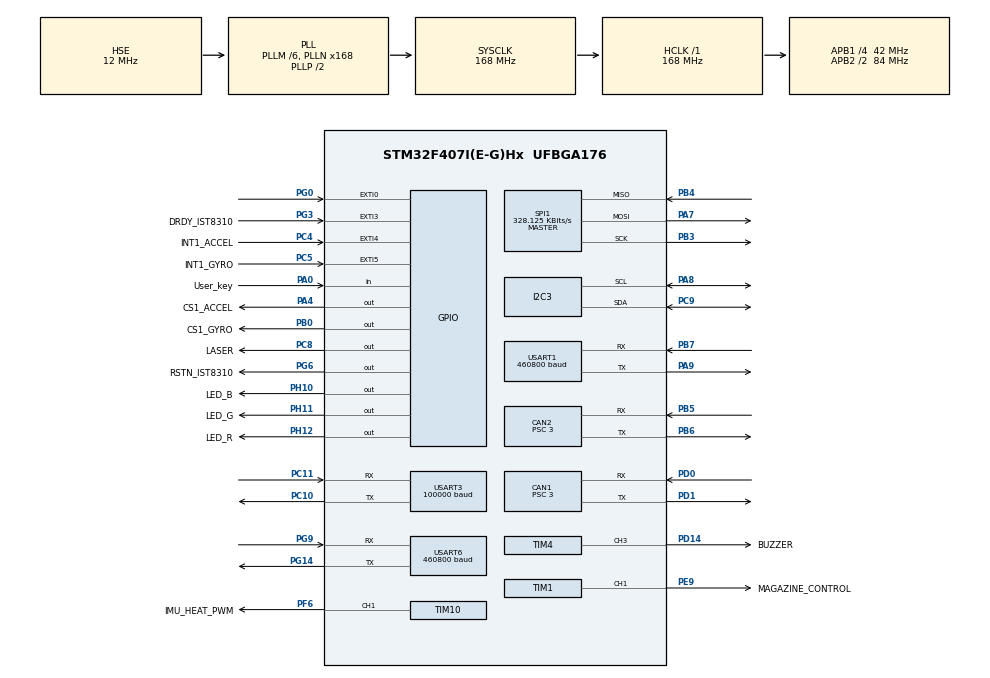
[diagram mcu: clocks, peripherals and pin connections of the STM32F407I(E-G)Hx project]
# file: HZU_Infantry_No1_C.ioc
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CAN1.BS1=CAN_BS1_10TQ
CAN1.BS2=CAN_BS2_4TQ
CAN1.CalculateBaudRate=933333
CAN1.CalculateTimeBit=1071.42
CAN1.CalculateTimeQuantum=71.42857142857143
CAN1.NART=DISABLE
CAN1.Prescaler=3
CAN1.SJW=CAN_SJW_1TQ
CAN2.BS1=CAN_BS1_10TQ
CAN2.BS2=CAN_BS2_4TQ
CAN2.CalculateBaudRate=933333
CAN2.CalculateTimeBit=1071.42
CAN2.CalculateTimeQuantum=71.42857142857143
CAN2.Prescaler=3
CAN2.SJW=CAN_SJW_1TQ
Dma.Request0=USART3_RX
Dma.Request1=USART6_RX
Dma.Request2=USART6_TX
Dma.Request3=USART1_TX
Dma.Request4=SPI1_RX
Dma.Request5=SPI1_TX
Dma.Request6=USART1_RX
Dma.SPI1_RX.4.Direction=DMA_PERIPH_TO_MEMORY
Dma.SPI1_RX.4.FIFOMode=DMA_FIFOMODE_DISABLE
Dma.SPI1_RX.4.Instance=DMA2_Stream2
Dma.SPI1_RX.4.MemDataAlignment=DMA_MDATAALIGN_BYTE
Dma.SPI1_RX.4.MemInc=DMA_MINC_ENABLE
Dma.SPI1_RX.4.Mode=DMA_NORMAL
Dma.SPI1_RX.4.PeriphDataAlignment=DMA_PDATAALIGN_BYTE
Dma.SPI1_RX.4.PeriphInc=DMA_PINC_DISABLE
Dma.SPI1_RX.4.Priority=DMA_PRIORITY_VERY_HIGH
Dma.SPI1_TX.5.Direction=DMA_MEMORY_TO_PERIPH
Dma.SPI1_TX.5.FIFOMode=DMA_FIFOMODE_DISABLE
Dma.SPI1_TX.5.Instance=DMA2_Stream3
Dma.SPI1_TX.5.MemDataAlignment=DMA_MDATAALIGN_BYTE
Dma.SPI1_TX.5.MemInc=DMA_MINC_ENABLE
Dma.SPI1_TX.5.Mode=DMA_NORMAL
Dma.SPI1_TX.5.PeriphDataAlignment=DMA_PDATAALIGN_BYTE
Dma.SPI1_TX.5.PeriphInc=DMA_PINC_DISABLE
Dma.SPI1_TX.5.Priority=DMA_PRIORITY_HIGH
Dma.USART1_RX.6.Direction=DMA_PERIPH_TO_MEMORY
Dma.USART1_RX.6.FIFOMode=DMA_FIFOMODE_DISABLE
Dma.USART1_RX.6.Instance=DMA2_Stream5
Dma.USART1_RX.6.MemDataAlignment=DMA_MDATAALIGN_BYTE
Dma.USART1_RX.6.MemInc=DMA_MINC_ENABLE
Dma.USART1_RX.6.Mode=DMA_NORMAL
Dma.USART1_RX.6.PeriphDataAlignment=DMA_PDATAALIGN_BYTE
Dma.USART1_RX.6.PeriphInc=DMA_PINC_DISABLE
Dma.USART1_RX.6.Priority=DMA_PRIORITY_HIGH
Dma.USART1_TX.3.Direction=DMA_MEMORY_TO_PERIPH
Dma.USART1_TX.3.FIFOMode=DMA_FIFOMODE_DISABLE
Dma.USART1_TX.3.Instance=DMA2_Stream7
Dma.USART1_TX.3.MemDataAlignment=DMA_MDATAALIGN_BYTE
Dma.USART1_TX.3.MemInc=DMA_MINC_ENABLE
Dma.USART1_TX.3.Mode=DMA_NORMAL
Dma.USART1_TX.3.PeriphDataAlignment=DMA_PDATAALIGN_BYTE
Dma.USART1_TX.3.PeriphInc=DMA_PINC_DISABLE
Dma.USART1_TX.3.Priority=DMA_PRIORITY_MEDIUM
Dma.USART3_RX.0.Direction=DMA_PERIPH_TO_MEMORY
Dma.USART3_RX.0.FIFOMode=DMA_FIFOMODE_DISABLE
Dma.USART3_RX.0.Instance=DMA1_Stream1
Dma.USART3_RX.0.MemDataAlignment=DMA_MDATAALIGN_BYTE
Dma.USART3_RX.0.MemInc=DMA_MINC_ENABLE
Dma.USART3_RX.0.Mode=DMA_NORMAL
Dma.USART3_RX.0.PeriphDataAlignment=DMA_PDATAALIGN_BYTE
Dma.USART3_RX.0.PeriphInc=DMA_PINC_DISABLE
Dma.USART3_RX.0.Priority=DMA_PRIORITY_HIGH
Dma.USART6_RX.1.Direction=DMA_PERIPH_TO_MEMORY
Dma.USART6_RX.1.FIFOMode=DMA_FIFOMODE_DISABLE
Dma.USART6_RX.1.Instance=DMA2_Stream1
Dma.USART6_RX.1.MemDataAlignment=DMA_MDATAALIGN_BYTE
Dma.USART6_RX.1.MemInc=DMA_MINC_ENABLE
Dma.USART6_RX.1.Mode=DMA_NORMAL
Dma.USART6_RX.1.PeriphDataAlignment=DMA_PDATAALIGN_BYTE
Dma.USART6_RX.1.PeriphInc=DMA_PINC_DISABLE
Dma.USART6_RX.1.Priority=DMA_PRIORITY_HIGH
Dma.USART6_TX.2.Direction=DMA_MEMORY_TO_PERIPH
Dma.USART6_TX.2.FIFOMode=DMA_FIFOMODE_DISABLE
Dma.USART6_TX.2.Instance=DMA2_Stream6
Dma.USART6_TX.2.MemDataAlignment=DMA_MDATAALIGN_BYTE
Dma.USART6_TX.2.MemInc=DMA_MINC_ENABLE
Dma.USART6_TX.2.Mode=DMA_NORMAL
Dma.USART6_TX.2.PeriphDataAlignment=DMA_PDATAALIGN_BYTE
Dma.USART6_TX.2.PeriphInc=DMA_PINC_DISABLE
Dma.USART6_TX.2.Priority=DMA_PRIORITY_MEDIUM
FREERTOS.INCLUDE_pcTaskGetTaskName=1
FREERTOS.INCLUDE_uxTaskGetStackHighWaterMark2=1
FREERTOS.INCLUDE_vTaskCleanUpResources=1
FREERTOS.INCLUDE_xEventGroupSetBitFromISR=1
FREERTOS.INCLUDE_xSemaphoreGetMutexHolder=1
FREERTOS.INCLUDE_xTaskAbortDelay=1
FREERTOS.INCLUDE_xTaskGetCurrentTaskHandle=1
FREERTOS.INCLUDE_xTaskGetHandle=1
FREERTOS.Tasks01=defaultTask,24,128,StartDefaultTask,Default,NULL,Dynamic,NULL,NULL
FREERTOS.configCHECK_FOR_STACK_OVERFLOW=2
FREERTOS.configENABLE_BACKWARD_COMPATIBILITY=0
FREERTOS.configENABLE_FPU=1
FREERTOS.configGENERATE_RUN_TIME_STATS=1
FREERTOS.configRECORD_STACK_HIGH_ADDRESS=1
FREERTOS.configTOTAL_HEAP_SIZE=0x6000
FREERTOS.configUSE_STATS_FORMATTING_FUNCTIONS=1
Mcu.Family=STM32F4
Mcu.Name=STM32F407I(E-G)Hx
Mcu.Package=UFBGA176
NVIC.CAN1_RX0_IRQn=true\:5\:0\:false\:false\:true\:true\:true\:true
NVIC.CAN1_TX_IRQn=true\:5\:0\:false\:false\:true\:true\:true\:true
NVIC.CAN2_RX0_IRQn=true\:5\:0\:false\:false\:true\:true\:true\:true
NVIC.CAN2_TX_IRQn=true\:5\:0\:false\:false\:true\:true\:true\:true
NVIC.DMA1_Stream1_IRQn=true\:5\:0\:true\:false\:true\:false\:false\:true
NVIC.DMA2_Stream1_IRQn=true\:5\:0\:true\:false\:true\:false\:false\:true
NVIC.DMA2_Stream2_IRQn=true\:5\:0\:false\:false\:true\:true\:false\:true
NVIC.DMA2_Stream3_IRQn=true\:5\:0\:false\:false\:true\:true\:false\:true
NVIC.DMA2_Stream5_IRQn=true\:5\:0\:false\:false\:true\:true\:false\:true
NVIC.DMA2_Stream6_IRQn=true\:5\:0\:true\:false\:true\:false\:false\:true
NVIC.DMA2_Stream7_IRQn=true\:5\:0\:true\:false\:true\:false\:false\:true
NVIC.EXTI0_IRQn=true\:6\:0\:true\:false\:true\:true\:true\:true
NVIC.EXTI3_IRQn=true\:10\:0\:true\:false\:true\:false\:true\:true
NVIC.EXTI4_IRQn=true\:5\:0\:true\:false\:true\:false\:true\:true
NVIC.EXTI9_5_IRQn=true\:5\:0\:true\:false\:true\:false\:true\:true
NVIC.PriorityGroup=NVIC_PRIORITYGROUP_4
NVIC.TIM1_UP_TIM10_IRQn=true\:5\:0\:false\:false\:true\:true\:true\:true
NVIC.TIM2_IRQn=true\:0\:0\:false\:false\:true\:false\:false\:true
NVIC.TIM3_IRQn=true\:5\:0\:false\:false\:true\:true\:true\:true
NVIC.TIM6_DAC_IRQn=true\:5\:0\:false\:false\:true\:true\:true\:true
NVIC.TIM7_IRQn=true\:5\:0\:false\:false\:true\:true\:true\:true
NVIC.TimeBase=TIM2_IRQn
NVIC.TimeBaseIP=TIM2
NVIC.USART1_IRQn=true\:5\:0\:false\:false\:true\:true\:true\:true
NVIC.USART6_IRQn=true\:5\:0\:false\:false\:true\:true\:true\:true
PA0-WKUP.GPIO_Label=User_key
PA0-WKUP.GPIO_PuPd=GPIO_PULLUP
PA0-WKUP.Signal=GPIO_Input
PA13.Mode=Serial_Wire
PA13.Signal=SYS_JTMS-SWDIO
PA14.Mode=Serial_Wire
PA14.Signal=SYS_JTCK-SWCLK
PA4.GPIO_Label=CS1_ACCEL
PA4.GPIO_PuPd=GPIO_PULLUP
PA4.GPIO_Speed=GPIO_SPEED_FREQ_HIGH
PA4.PinState=GPIO_PIN_SET
PA4.Signal=GPIO_Output
PA7.GPIO_PuPd=GPIO_PULLUP
PA7.Mode=Full_Duplex_Master
PA7.Signal=SPI1_MOSI
PA8.Mode=I2C
PA8.Signal=I2C3_SCL
PA9.GPIO_PuPd=GPIO_NOPULL
PA9.GPIO_Speed=GPIO_SPEED_FREQ_VERY_HIGH
PA9.Mode=Asynchronous
PA9.Signal=USART1_TX
PB0.GPIO_Label=CS1_GYRO
PB0.GPIO_PuPd=GPIO_PULLUP
PB0.GPIO_Speed=GPIO_SPEED_FREQ_HIGH
PB0.PinState=GPIO_PIN_SET
PB0.Signal=GPIO_Output
PB3.GPIO_PuPd=GPIO_PULLUP
PB3.Mode=Full_Duplex_Master
PB3.Signal=SPI1_SCK
PB4.GPIO_PuPd=GPIO_PULLUP
PB4.Mode=Full_Duplex_Master
PB4.Signal=SPI1_MISO
PB5.Mode=CAN_Activate
PB5.Signal=CAN2_RX
PB6.Mode=CAN_Activate
PB6.Signal=CAN2_TX
PB7.GPIO_PuPd=GPIO_NOPULL
PB7.GPIO_Speed=GPIO_SPEED_FREQ_VERY_HIGH
PB7.Mode=Asynchronous
PB7.Signal=USART1_RX
PC10.GPIO_PuPd=GPIO_PULLUP
PC10.GPIO_Speed=GPIO_SPEED_FREQ_HIGH
PC10.Mode=Asynchronous
PC10.Signal=USART3_TX
PC11.GPIO_PuPd=GPIO_PULLUP
PC11.GPIO_Speed=GPIO_SPEED_FREQ_HIGH
PC11.Mode=Asynchronous
PC11.Signal=USART3_RX
PC4.GPIO_Label=INT1_ACCEL
PC4.GPIO_ModeDefaultEXTI=GPIO_MODE_IT_FALLING
PC4.GPIO_PuPd=GPIO_PULLUP
PC4.Signal=GPXTI4
PC5.GPIO_Label=INT1_GYRO
PC5.GPIO_ModeDefaultEXTI=GPIO_MODE_IT_FALLING
PC5.GPIO_PuPd=GPIO_PULLUP
PC5.Signal=GPXTI5
PC8.GPIO_Label=LASER
PC8.GPIO_PuPd=GPIO_PULLUP
PC8.GPIO_Speed=GPIO_SPEED_FREQ_VERY_HIGH
PC8.Signal=GPIO_Output
PC9.Mode=I2C
PC9.Signal=I2C3_SDA
PD0.Mode=CAN_Activate
PD0.Signal=CAN1_RX
PD1.Mode=CAN_Activate
PD1.Signal=CAN1_TX
PD14.GPIO_Label=BUZZER
PD14.GPIO_PuPd=GPIO_PULLUP
PD14.GPIO_Speed=GPIO_SPEED_FREQ_VERY_HIGH
PD14.Signal=S_TIM4_CH3
PE9.GPIO_Label=MAGAZINE_CONTROL
PE9.GPIO_Speed=GPIO_SPEED_FREQ_HIGH
PE9.Signal=S_TIM1_CH1
PF6.GPIO_Label=IMU_HEAT_PWM
PF6.GPIO_PuPd=GPIO_PULLUP
PF6.GPIO_Speed=GPIO_SPEED_FREQ_HIGH
PF6.Signal=S_TIM10_CH1
PG0.GPIO_PuPd=GPIO_PULLUP
PG0.Signal=GPXTI0
PG14.GPIO_PuPd=GPIO_PULLUP
PG14.GPIO_Speed=GPIO_SPEED_FREQ_HIGH
PG14.Mode=Asynchronous
PG14.Signal=USART6_TX
PG3.GPIO_Label=DRDY_IST8310
PG3.GPIO_ModeDefaultEXTI=GPIO_MODE_IT_FALLING
PG3.GPIO_PuPd=GPIO_PULLUP
PG3.Signal=GPXTI3
PG6.GPIO_Label=RSTN_IST8310
PG6.GPIO_PuPd=GPIO_PULLUP
PG6.GPIO_Speed=GPIO_SPEED_FREQ_MEDIUM
PG6.PinState=GPIO_PIN_RESET
PG6.Signal=GPIO_Output
PG9.GPIO_PuPd=GPIO_PULLUP
PG9.GPIO_Speed=GPIO_SPEED_FREQ_HIGH
PG9.Mode=Asynchronous
PG9.Signal=USART6_RX
PH0-OSC_IN.Mode=HSE-External-Oscillator
PH0-OSC_IN.Signal=RCC_OSC_IN
PH1-OSC_OUT.Mode=HSE-External-Oscillator
PH1-OSC_OUT.Signal=RCC_OSC_OUT
PH10.GPIO_Label=LED_B
PH10.GPIO_PuPd=GPIO_PULLUP
PH10.GPIO_Speed=GPIO_SPEED_FREQ_VERY_HIGH
PH10.Signal=GPIO_Output
PH11.GPIO_Label=LED_G
PH11.GPIO_PuPd=GPIO_PULLUP
PH11.GPIO_Speed=GPIO_SPEED_FREQ_VERY_HIGH
PH11.Signal=GPIO_Output
PH12.GPIO_Label=LED_R
PH12.GPIO_PuPd=GPIO_PULLUP
PH12.GPIO_Speed=GPIO_SPEED_FREQ_VERY_HIGH
PH12.Signal=GPIO_Output
ProjectManager.HeapSize=0x2000
ProjectManager.StackSize=0x4000
ProjectManager.TargetToolchain=MDK-ARM V5
RCC.48MHZClocksFreq_Value=48000000
RCC.AHBFreq_Value=168000000
RCC.APB1CLKDivider=RCC_HCLK_DIV4
RCC.APB1Freq_Value=42000000
RCC.APB1TimFreq_Value=84000000
RCC.APB2CLKDivider=RCC_HCLK_DIV2
RCC.APB2Freq_Value=84000000
RCC.APB2TimFreq_Value=168000000
RCC.CortexFreq_Value=168000000
RCC.HCLKFreq_Value=168000000
RCC.HSE_VALUE=12000000
RCC.HSI_VALUE=16000000
RCC.LSE_VALUE=32768
RCC.PLLM=6
RCC.PLLN=168
RCC.PLLQ=7
RCC.PLLSourceVirtual=RCC_PLLSOURCE_HSE
RCC.RCC_RTC_Clock_Source=RCC_RTCCLKSOURCE_LSI
RCC.RCC_RTC_Clock_SourceVirtual=RCC_RTCCLKSOURCE_HSE_DIV30
RCC.RCC_RTC_Clock_Source_FROM_HSE=RCC_RTCCLKSOURCE_HSE_DIV30
RCC.SYSCLKFreq_VALUE=168000000
RCC.SYSCLKSource=RCC_SYSCLKSOURCE_PLLCLK
RCC.VCOOutputFreq_Value=336000000
SH.S_TIM10_CH1.0=TIM10_CH1,PWM Generation1 CH1
SH.S_TIM1_CH1.0=TIM1_CH1,PWM Generation1 CH1
SH.S_TIM4_CH3.0=TIM4_CH3,PWM Generation3 CH3
SPI1.BaudRatePrescaler=SPI_BAUDRATEPRESCALER_256
SPI1.CLKPhase=SPI_PHASE_2EDGE
SPI1.CLKPolarity=SPI_POLARITY_HIGH
SPI1.CalculateBaudRate=328.125 KBits/s
SPI1.Direction=SPI_DIRECTION_2LINES
SPI1.Mode=SPI_MODE_MASTER
SPI1.VirtualType=VM_MASTER
TIM1.Channel-PWM\ Generation1\ CH1=TIM_CHANNEL_1
TIM1.Period=19999
TIM1.Prescaler=83
TIM1.Pulse-PWM\ Generation1\ CH1=10000
TIM10.Channel=TIM_CHANNEL_1
TIM10.Period=4999
TIM10.Pulse=2500
TIM3.Period=49
TIM3.Prescaler=83
TIM4.Channel-PWM\ Generation3\ CH3=TIM_CHANNEL_3
TIM4.Period=250
TIM4.Prescaler=83
TIM4.Pulse-PWM\ Generation3\ CH3=125
TIM6.Period=9999
TIM6.Prescaler=83
TIM7.AutoReloadPreload=TIM_AUTORELOAD_PRELOAD_ENABLE
TIM7.Period=9999
TIM7.Prescaler=83
USART1.BaudRate=460800
USART1.VirtualMode=VM_ASYNC
USART3.BaudRate=100000
USART3.Mode=MODE_RX
USART3.Parity=PARITY_EVEN
USART3.VirtualMode=VM_ASYNC
USART6.BaudRate=460800
USART6.VirtualMode=VM_ASYNC
VP_FREERTOS_VS_CMSIS_V2.Mode=CMSIS_V2
VP_SYS_VS_tim2.Mode=TIM2
VP_TIM10_VS_ClockSourceINT.Mode=Enable_Timer
VP_TIM1_VS_ClockSourceINT.Mode=Internal
VP_TIM3_VS_ClockSourceINT.Mode=Internal
VP_TIM4_VS_ClockSourceINT.Mode=Internal
VP_TIM6_VS_ClockSourceINT.Mode=Enable_Timer
VP_TIM7_VS_ClockSourceINT.Mode=Enable_Timer
board=custom

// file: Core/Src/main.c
/* USER CODE BEGIN Header */
/**
  ******************************************************************************
  * @file           : main.c
  * @brief          : Main program body
  ******************************************************************************
  * @attention
  *
  * <h2><center>&copy; Copyright (c) 2021 STMicroelectronics.
  * All rights reserved.</center></h2>
  *
  * This software component is licensed by ST under Ultimate Liberty license
  * SLA0044, the "License"; You may not use this file except in compliance with
  * the License. You may obtain a copy of the License at:
  *                             www.st.com/SLA0044
  *
  ******************************************************************************
  */
/* USER CODE END Header */
#include "main.h"
#include "cmsis_os.h"
#include "can.h"
#include "dma.h"
#include "i2c.h"
#include "spi.h"
#include "tim.h"
#include "usart.h"
#include "gpio.h"

/* USER CODE BEGIN Includes */
#include "GUI_task.h"
#include "connect_task.h"
#include "oled.h"
/* USER CODE END Includes */

void SystemClock_Config(void);
void MX_FREERTOS_Init(void);

/* USER CODE BEGIN 0 */
/*
				test_task      	110069		 1%//4%
				gimbal_task    	438178		<1%//16%
				shoot_task     	356625		<1%//13%
				IDLE           	1608912		80%//61%
				connect_task   	40440		  <1%//1%
				GUI_task       	242		    13%//<1%
				cali_task      	24591	  	 2%//<1%
				monitor_task   	4013		  <1%
				Tmr Svc        	1		      <1%
				INS_task       	46420		   1%
**/

/* USER CODE END 0 */

int main(void)
{

  /* MCU Configuration--------------------------------------------------------*/

  /* Reset of all peripherals, Initializes the Flash interface and the Systick. */
  HAL_Init();

  /* Configure the system clock */
  SystemClock_Config();

  /* Initialize all con	figured peripherals */
  MX_GPIO_Init();
  MX_DMA_Init();
  MX_CAN1_Init();
  MX_CAN2_Init();
  MX_SPI1_Init();
  MX_TIM4_Init();
  MX_USART3_UART_Init();
  MX_TIM3_Init();
  MX_TIM10_Init();
  MX_USART1_UART_Init();
  MX_USART6_UART_Init();
  MX_TIM6_Init();
  MX_I2C3_Init();
  MX_TIM1_Init();
  MX_TIM7_Init();
  /* USER CODE BEGIN 2 */
  led_laser_configuration();
  freertos_run_tim3_configuration();
  tim6_configuration();
  usart_Receive_DMA();
  CAN_APP_INIT();
  oled_init();
  delay_init(168);   //
  // //AC
	// check_connect(&connect_data);
  /* USER CODE END 2 */

  /* Init scheduler */
  osKernelInitialize();  /* Call init function for freertos objects (in freertos.c) */
  MX_FREERTOS_Init();
  /* Start scheduler */
  osKernelStart();

  /* We should never get here as control is now taken by the scheduler */
  /* Infinite loop */
  while (1)
  {

  }
}

void SystemClock_Config(void)
{
  RCC_OscInitTypeDef RCC_OscInitStruct = {0};
  RCC_ClkInitTypeDef RCC_ClkInitStruct = {0};

  /** Configure the main internal regulator output voltage
  */
  __HAL_RCC_PWR_CLK_ENABLE();
  __HAL_PWR_VOLTAGESCALING_CONFIG(PWR_REGULATOR_VOLTAGE_SCALE1);
  /** Initializes the RCC Oscillators according to the specified parameters
  * in the RCC_OscInitTypeDef structure.
  */
  RCC_OscInitStruct.OscillatorType = RCC_OSCILLATORTYPE_HSE;
  RCC_OscInitStruct.HSEState = RCC_HSE_ON;
  RCC_OscInitStruct.PLL.PLLState = RCC_PLL_ON;
  RCC_OscInitStruct.PLL.PLLSource = RCC_PLLSOURCE_HSE;
  RCC_OscInitStruct.PLL.PLLM = 6;
  RCC_OscInitStruct.PLL.PLLN = 168;
  RCC_OscInitStruct.PLL.PLLP = RCC_PLLP_DIV2;
  RCC_OscInitStruct.PLL.PLLQ = 7;
  if (HAL_RCC_OscConfig(&RCC_OscInitStruct) != HAL_OK)
  {
    Error_Handler();
  }
  /** Initializes the CPU, AHB and APB buses clocks
  */
  RCC_ClkInitStruct.ClockType = RCC_CLOCKTYPE_HCLK|RCC_CLOCKTYPE_SYSCLK
                              |RCC_CLOCKTYPE_PCLK1|RCC_CLOCKTYPE_PCLK2;
  RCC_ClkInitStruct.SYSCLKSource = RCC_SYSCLKSOURCE_PLLCLK;
  RCC_ClkInitStruct.AHBCLKDivider = RCC_SYSCLK_DIV1;
  RCC_ClkInitStruct.APB1CLKDivider = RCC_HCLK_DIV4;
  RCC_ClkInitStruct.APB2CLKDivider = RCC_HCLK_DIV2;

  if (HAL_RCC_ClockConfig(&RCC_ClkInitStruct, FLASH_LATENCY_5) != HAL_OK)
  {
    Error_Handler();
  }
}

/* USER CODE BEGIN 4 */
volatile uint64_t tim6_run_time = 0;
/* USER CODE END 4 */

 /**
  * @brief  Period elapsed callback in non blocking mode
  * @note   This function is called  when TIM2 interrupt took place, inside
  * HAL_TIM_IRQHandler(). It makes a direct call to HAL_IncTick() to increment
  * a global variable "uwTick" used as application time base.
  * @param  htim : TIM handle
  * @retval None
  */
void HAL_TIM_PeriodElapsedCallback(TIM_HandleTypeDef *htim)
{
  if (htim->Instance == TIM2) {
    HAL_IncTick();
  }
  /* USER CODE BEGIN Callback 1 */
  else if(htim->Instance == TIM3)
	{
		freertos_run_time ++;
	}
  else if(htim->Instance == TIM6)
	{
    tim6_run_time ++;
		get_rc_analoy_key_value(&rc_analog_key, rc_analog_key.rc_ctrl_data_point);
	}
  /* USER CODE END Callback 1 */
}

void Error_Handler(void)
{
  __disable_irq();
  while (1)
  {
  }
}

/************************ (C) COPYRIGHT STMicroelectronics *****END OF FILE****/

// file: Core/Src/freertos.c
/* USER CODE BEGIN Header */
/**
  ******************************************************************************
  * File Name          : freertos.c
  * Description        : Code for freertos applications
  ******************************************************************************
  * @attention
  *
  * <h2><center>&copy; Copyright (c) 2021 STMicroelectronics.
  * All rights reserved.</center></h2>
  *
  * This software component is licensed by ST under Ultimate Liberty license
  * SLA0044, the "License"; You may not use this file except in compliance with
  * the License. You may obtain a copy of the License at:
  *                             www.st.com/SLA0044
  *
  ******************************************************************************
  */
/* USER CODE END Header */

#include "FreeRTOS.h"
#include "task.h"
#include "main.h"
#include "cmsis_os.h"

/* Definitions for defaultTask */
osThreadId_t defaultTaskHandle;
const osThreadAttr_t defaultTask_attributes = {
  .name = "defaultTask",
  .priority = (osPriority_t) osPriorityNormal,
  .stack_size = 128 * 4
};

/* USER CODE BEGIN FunctionPrototypes */
osThreadId_t Start_Task_Handler;
const osThreadAttr_t Start_Task_attr = {
  .name = "Start_Task",
  .priority = (osPriority_t) osPriorityLow,
  .stack_size = 256 * 4
};
void start_task(void *argument);
/* USER CODE END FunctionPrototypes */

void StartDefaultTask(void *argument);

void MX_FREERTOS_Init(void); /* (MISRA C 2004 rule 8.1) */

/* Hook prototypes */
void configureTimerForRunTimeStats(void);
unsigned long getRunTimeCounterValue(void);
void vApplicationStackOverflowHook(TaskHandle_t xTask, signed char *pcTaskName);

/* USER CODE BEGIN 1 */
extern volatile uint64_t freertos_run_time;
/* Functions needed when configGENERATE_RUN_TIME_STATS is on */
__weak void configureTimerForRunTimeStats(void)
{
    freertos_run_time = 0;
    MX_TIM3_Init();
}

__weak unsigned long getRunTimeCounterValue(void)
{
    return freertos_run_time;
}
/* USER CODE END 1 */

/* USER CODE BEGIN 4 */
void vApplicationStackOverflowHook(TaskHandle_t xTask, signed char *pcTaskName)
{
   /* Run time stack overflow checking is performed if
   configCHECK_FOR_STACK_OVERFLOW is defined to 1 or 2. This hook function is
   called if a stack overflow is detected. */
}
/* USER CODE END 4 */

void MX_FREERTOS_Init(void) {

  /* Create the thread(s) */
  /* creation of defaultTask */
  defaultTaskHandle = osThreadNew(StartDefaultTask, NULL, &defaultTask_attributes);

  /* USER CODE BEGIN RTOS_THREADS */
  /* add threads, ... */
  Start_Task_Handler = osThreadNew(start_task, NULL, &Start_Task_attr);
  /* USER CODE END RTOS_THREADS */

}

void StartDefaultTask(void *argument)
{
  for(;;)
  {
    osDelay(1);
  }
}

/************************ (C) COPYRIGHT STMicroelectronics *****END OF FILE****/
